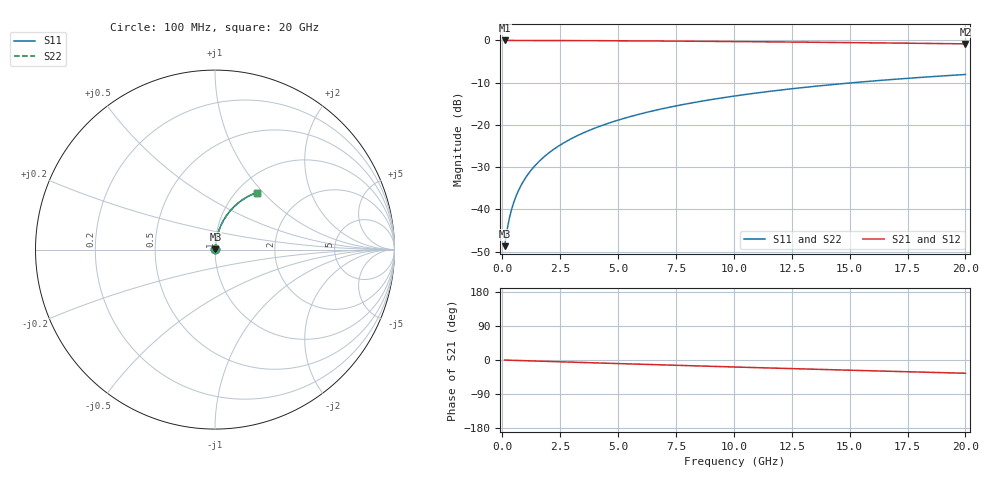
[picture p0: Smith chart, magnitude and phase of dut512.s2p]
! Touchstone file exported from HFSS 2026.1.0
!  File:  C:/ffzhzh/LocalFiles/Ansys_Project_Files/temp_train_BSMRDL_512_1783014432_51716.aedt
!  Generated:  01:48:39 AM Jul  3, 2026
!  Design:  BSMRDL
!  Project:  temp_train_BSMRDL_512_1783014432_51716
! Variables:
!  h_bsmrdl = 3.8um
!  h_ox = 20um
!  h_rdl = 5um
!  h_sub = 80um
!  h_tmrdl = 5um
!  h_tsv = 80um
!  h_via = 3um
!  l_bsmrdl = 441.34um
!  l_sub = 841.34um
!  l_tmrdl = 200um
!  m_sub = 200um
!  pitch = 51.86um
!  r_tsv = 6um
!  s_tmrdl = 10um
!  w_bsmrdl = 15.6um
!  w_sub = 500um
!  w_tmrdl = 12um
!  x_tsv_center1 = 206um
!  x_tsv_center2 = 662.94um
!  x_tsv_center3 = 874.94um
!  x_tsv_center4 = 1331.88um
!  x_tsv_center5 = 1543.88um
!  x_tsv_center6 = 2000.82um
# GHz S MA R 50.000000
! Terminal data exported
! Port[1] = BSM_RDL1_1_T1
! Port[2] = BSM_RDL1_1_T2
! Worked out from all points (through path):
!   200 points, 100 MHz to 20 GHz, reference 50 ohm
!   highest |S21| = -0.02 dB at 100 MHz (marker M1); lowest = -0.8 dB at 20 GHz (marker M2)
!   group delay of S21, straight-line fit = 4.87 ps
!   lowest |S11| = -48.7 dB at 100 MHz (marker M3), VSWR 1.01, Z = 50.3 + j0.243 ohm
!   |S11| at or under -10 dB: start of sweep to 15.17 GHz
!   |S22| runs from -48.7 to -8.1 dB; largest |S21 - S12| = 2.7e-15
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0.1  0.003681 41.1  0.9972 -0.2  0.9972 -0.2  0.003681 41.1
! Gamma 0 0 0 0
! Port Impedance 50 0 50 0
0.2  0.005599 59.2  0.9972 -0.4  0.9972 -0.4  0.005599 59.2
0.3  0.007762 67.4  0.9971 -0.6  0.9971 -0.6  0.007762 67.4
0.4  0.009989 71.8  0.997 -0.8  0.997 -0.8  0.009989 71.8
0.5  0.01223 74.6  0.9969 -1.0  0.9969 -1.0  0.01223 74.6
0.6  0.01449 76.4  0.9968 -1.2  0.9968 -1.2  0.01449 76.4
0.8  0.01902 78.8  0.9966 -1.5  0.9966 -1.5  0.01902 78.8
1.1  0.02585 80.6  0.9964 -2.1  0.9964 -2.1  0.02585 80.6
1.5  0.03498 81.5  0.996 -2.9  0.996 -2.9  0.03498 81.5
1.8  0.04184 81.8  0.9956 -3.4  0.9956 -3.4  0.04184 81.8
2.1  0.04869 81.8  0.9952 -4.0  0.9952 -4.0  0.04869 81.8
2.7  0.06236 81.4  0.9943 -5.1  0.9943 -5.1  0.06236 81.4
3.5  0.08046 80.4  0.9926 -6.6  0.9926 -6.6  0.08046 80.4
4.2  0.09615 79.4  0.9909 -7.9  0.9909 -7.9  0.09615 79.4
5  0.1139 78.1  0.9886 -9.4  0.9886 -9.4  0.1139 78.1
5.9  0.1336 76.6  0.9857 -11.1  0.9857 -11.1  0.1336 76.6
6.8  0.1529 75.1  0.9825 -12.7  0.9825 -12.7  0.1529 75.1
8.3  0.1845 72.6  0.9764 -15.4  0.9764 -15.4  0.1845 72.6
10.1  0.2211 69.5  0.968 -18.6  0.968 -18.6  0.2211 69.5
13.4  0.2844 64.0  0.9504 -24.3  0.9504 -24.3  0.2844 64.0
16.7  0.3424 58.7  0.9305 -29.8  0.9305 -29.8  0.3424 58.7
20  0.3948 53.6  0.9092 -35.0  0.9092 -35.0  0.3948 53.6
